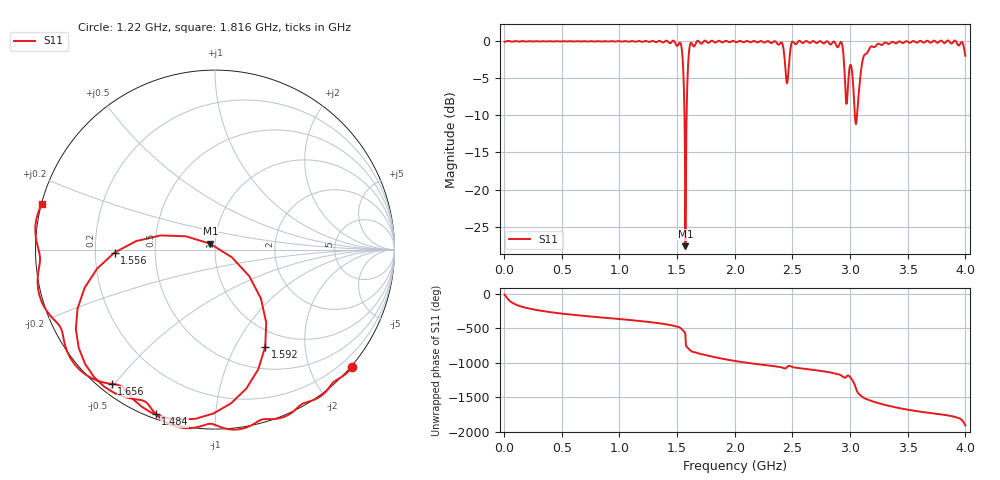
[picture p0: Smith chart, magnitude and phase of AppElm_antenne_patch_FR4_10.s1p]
! TOUCHSTONE file generated by CST MICROWAVE STUDIO
! Date and time: Tue Jun  7 20:52:00 2022
! Project name: AppElm_antenne_patch_FR4.cst
! Parameters = {L=45; W=58.5; e=0.035; h=1.6; lambda=0.190476; ls=120; w0=1.6; w1=0.533333; ws=120; y0=20; y1=28.57}
! Header version: 2018
! Port assignment regex: !\s*Touchstone port\s*([0-9]+)\s*=\s*(CST MWS port|CST DS port)\s*([0-9]+|Zmin|Zmax)\s*\(\"(.*)\"\)(\s*mode\s*([0-9]+))?.*
! Touchstone port assignment:
! Touchstone port 1 = CST MWS port 1 ("")
# GHz S MA R 50
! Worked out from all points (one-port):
!   1000 points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, 4 MHz to 4 GHz, reference 50 ohm
!   lowest |S11| = -27.6 dB at 1.572 GHz (marker M1), VSWR 1.09, Z = 47.4 + j3.08 ohm
!   |S11| at or under -10 dB: 1.564 GHz to 1.582 GHz (18.56 MHz wide, 1.18 % of centre); 3.042 GHz to 3.06 GHz (18.52 MHz wide, 0.607 % of centre)
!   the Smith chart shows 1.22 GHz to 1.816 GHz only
!   S11 on the Smith chart (normalised r, x): 1.22 GHz: -0.01, -2.70; 1.484 GHz: 0.02, -0.70; 1.556 GHz: 0.28, -0.01; 1.592 GHz: 0.77, -1.33; 1.656 GHz: 0.04, -0.49; 1.816 GHz: 0.00, +0.13
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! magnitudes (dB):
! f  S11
! 4 MHz  -0.1
! 504 MHz  0.0
! 1.004 GHz  0.0
! 1.22 GHz  0.0
! 1.484 GHz  -0.2
! 1.504 GHz  -0.6
! 1.54 GHz  -1.0
! 1.556 GHz  -5.0
! 1.572 GHz  -27.6
! 1.592 GHz  -4.3
! 1.6 GHz  -2.0
! 1.612 GHz  -0.5
! 1.656 GHz  -0.5
! 1.816 GHz  0.0
! 2.004 GHz  -0.1
! 2.4 GHz  -0.2
! 2.452 GHz  -5.7
! 2.504 GHz  0.0
! 2.916 GHz  -0.1
! 2.932 GHz  -0.5
! 2.968 GHz  -8.4
! 3.004 GHz  -3.2
! 3.052 GHz  -11.2
! 3.108 GHz  -2.6
! 3.168 GHz  -1.0
! 3.504 GHz  -0.1
! 3.908 GHz  0.1
! 4 GHz  -2.0
